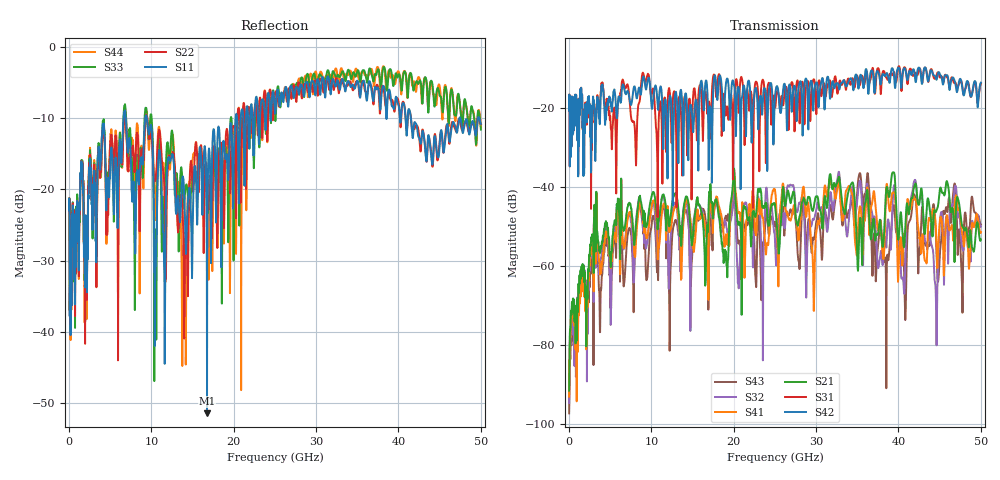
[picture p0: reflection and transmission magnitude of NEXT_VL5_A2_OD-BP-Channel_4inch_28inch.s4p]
#	Hz	S	RI	R	50
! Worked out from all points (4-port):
!   2500 points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, 20 MHz to 50 GHz, reference 50 ohm
!   strongest paths, dB at 20 MHz, 12.52 GHz, 25.02 GHz, 37.52 GHz, 50 GHz:
!     S42: -20.5, -25.7, -16.9, -10.7, -13.5
!     S31: -20.5, -23.0, -19.7, -9.8, -13.7
!     S21: -91.4, -43.9, -44.7, -51.7, -53.2
!     S41: -93.0, -47.9, -40.9, -50.9, -51.3
!     S32: -94.6, -46.4, -54.0, -60.4, -49.8
!     S43: -97.2, -52.6, -48.7, -54.9, -49.4
!   lowest |S11| = -51.4 dB at 16.76 GHz (marker M1), VSWR 1.01, Z = 49.9 + j0.245 ohm
!   |S11| at or under -10 dB: start of sweep to 6.641 GHz; 9.449 GHz to 20.24 GHz (10.79 GHz wide, 72.7 % of centre); 41.51 GHz to 47.4 GHz (5.892 GHz wide, 13.3 % of centre)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
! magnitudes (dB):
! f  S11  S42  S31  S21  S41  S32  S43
! 20 MHz  -22.9  -20.5  -20.5  -91.4  -93.0  -94.6  -97.2
! 3.26 GHz  -26.1  -25.1  -22.5  -46.0  -45.1  -45.8  -44.7
! 16.76 GHz  -51.4  -14.4  -20.7  -50.1  -52.2  -50.1  -49.4
! 40.56 GHz  -7.9  -10.5  -10.4  -53.4  -54.1  -63.2  -55.4
! 41.96 GHz  -10.6  -11.3  -11.2  -39.5  -43.1  -38.2  -42.0
! 44.56 GHz  -13.8  -12.6  -12.0  -46.1  -51.2  -70.1  -53.0
! 50 GHz  -10.8  -13.5  -13.7  -53.2  -51.3  -49.8  -49.4
